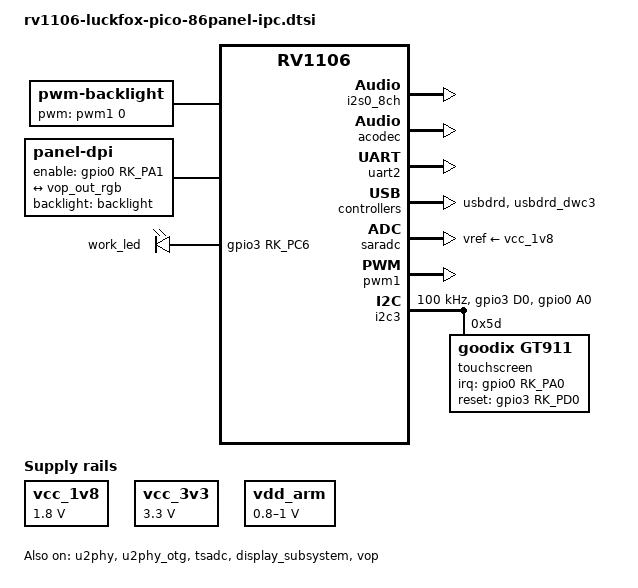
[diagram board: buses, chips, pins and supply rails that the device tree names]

// SPDX-License-Identifier: (GPL-2.0+ OR MIT)
/*
 * Copyright (c) 2022 Rockchip Electronics Co., Ltd.
 */

#include "rv1106-evb.dtsi"
#include <dt-bindings/input/input.h>
#include <dt-bindings/display/media-bus-format.h>

/ {
	chosen {
		bootargs = "earlycon=uart8250,mmio32,0xff4c0000 console=ttyS2,1500000n8 loglevel=8 ignore_loglevel root=/dev/mmcblk0p5 rootfstype=squashfs,f2fs rw rootwait rk_dma_heap_cma=66M";
	};

	backlight: backlight {
		status = "okay";
		compatible = "pwm-backlight";
		pwms = <&pwm1 0 100000 50000>;
		brightness-levels = <
			  0   1   2   3   4   5   6   7
			  8   9  10  11  12  13  14  15
			 16  17  18  19  20  21  22  23
			 24  25  26  27  28  29  30  31
			 32  33  34  35  36  37  38  39
			 40  41  42  43  44  45  46  47
			 48  49  50  51  52  53  54  55
			 56  57  58  59  60  61  62  63
			 64  65  66  67  68  69  70  71
			 72  73  74  75  76  77  78  79
			 80  81  82  83  84  85  86  87
			 88  89  90  91  92  93  94  95
			 96  97  98  99 100 101 102 103
			104 105 106 107 108 109 110 111
			112 113 114 115 116 117 118 119
			120 121 122 123 124 125 126 127
			128 129 130 131 132 133 134 135
			136 137 138 139 140 141 142 143
			144 145 146 147 148 149 150 151
			152 153 154 155 156 157 158 159
			160 161 162 163 164 165 166 167
			168 169 170 171 172 173 174 175
			176 177 178 179 180 181 182 183
			184 185 186 187 188 189 190 191
			192 193 194 195 196 197 198 199
			200 201 202 203 204 205 206 207
			208 209 210 211 212 213 214 215
			216 217 218 219 220 221 222 223
			224 225 226 227 228 229 230 231
			232 233 234 235 236 237 238 239
			240 241 242 243 244 245 246 247
			248 249 250 251 252 253 254 255>;
		default-brightness-level = <255>;
	};

	panel: panel {
		/*
		 * Mainline panel-simple matches "panel-dpi" for the generic
		 * raw-RGB-with-timing case; the vendor's "simple-panel"
		 * compatible isn't bound by any upstream driver. panel-dpi
		 * expects a flat "panel-timing" subnode (not the
		 * display-timings/native-mode wrapper).
		 */
		compatible = "panel-dpi";
		backlight = <&backlight>;

		/*
		 * Mainline panel-simple looks up "enable" (not "reset") and
		 * drives it high during resume/prepare to bring the panel
		 * out of reset. The vendor "reset-delay-ms" is not read by
		 * panel-dpi -- if a settling delay is needed we'd have to
		 * extend panel-dpi itself.
		 */
		enable-gpios = <&gpio0 RK_PA1 GPIO_ACTIVE_HIGH>;
		status = "okay";

		width-mm = <85>;
		height-mm = <85>;
		bus-format = <MEDIA_BUS_FMT_RGB666_1X18>;

		panel-timing {
			clock-frequency = <30000000>;
			hactive = <720>;
			vactive = <720>;
			hback-porch = <44>;
			hfront-porch = <46>;
			vback-porch = <18>;
			vfront-porch = <16>;
			hsync-len = <2>;
			vsync-len = <2>;
			hsync-active = <0>;
			vsync-active = <0>;
			de-active = <0>;
			pixelclk-active = <0>;
		};

		port {
			panel_in_rgb: endpoint {
				remote-endpoint = <&vop_out_rgb>;
			};
		};
	};

	reserved_memory: reserved-memory {
		status = "okay";
		#address-cells = <1>;
		#size-cells = <1>;
		ranges;
		drm_logo: drm-logo@00000000 {
			compatible = "rockchip,drm-logo";
			reg = <0x0 0x0>;
		};
		linux,cma {
			status = "okay";
			compatible = "shared-dma-pool";
			inactive;
			reusable;
			size = <0xA00000>; //10M
			linux,cma-default;
		};
		mmc_ecsd: mmc@3f000 {
			reg = <0x3f000 0x00001000>;
		};
	};

	acodec_sound: acodec-sound {
		compatible = "simple-audio-card";
		simple-audio-card,name = "rv1106-acodec";
		simple-audio-card,format = "i2s";
		simple-audio-card,mclk-fs = <256>;
		simple-audio-card,cpu {
			sound-dai = <&i2s0_8ch>;
		};
		simple-audio-card,codec {
			sound-dai = <&acodec>;
		};
	};

	dsm_sound: dsm-sound {
		status = "disabled";
		compatible = "simple-audio-card";
		simple-audio-card,format = "i2s";
		simple-audio-card,mclk-fs = <256>;
		simple-audio-card,name = "rockchip,dsm-sound";
		simple-audio-card,bitclock-master = <&sndcodec>;
		simple-audio-card,frame-master = <&sndcodec>;
		sndcpu: simple-audio-card,cpu {
			sound-dai = <&i2s0_8ch>;
		};
		sndcodec: simple-audio-card,codec {
			sound-dai = <&dsm>;
		};
	};

	vcc_1v8: vcc-1v8 {
		compatible = "regulator-fixed";
		regulator-name = "vcc_1v8";
		regulator-always-on;
		regulator-boot-on;
		regulator-min-microvolt = <1800000>;
		regulator-max-microvolt = <1800000>;
	};

	vcc_3v3: vcc-3v3 {
		compatible = "regulator-fixed";
		regulator-name = "vcc_3v3";
		regulator-always-on;
		regulator-boot-on;
		regulator-min-microvolt = <3300000>;
		regulator-max-microvolt = <3300000>;
	};

	vdd_arm: vdd-arm {
		compatible = "regulator-fixed";
		regulator-name = "vdd_arm";
		regulator-min-microvolt = <800000>;
		regulator-max-microvolt = <1000000>;
		regulator-init-microvolt = <900000>;
		regulator-always-on;
		regulator-boot-on;
	};

	leds: leds {
		compatible = "gpio-leds";
		work_led: work{
			gpios = <&gpio3 RK_PC6 GPIO_ACTIVE_HIGH>;
			linux,default-trigger = "activity";
			default-state = "on";
		};
	};
};

/***************************** audio ********************************/
&i2s0_8ch {
	#sound-dai-cells = <0>;
	status = "okay";
};

&acodec {
	#sound-dai-cells = <0>;
	status = "okay";
};

/************************* FIQ_DUBUGGER ****************************/
&fiq_debugger {
	rockchip,irq-mode-enable = <1>;
	status = "disabled";
};

/* uart2 (8250) is the console — fiq-debugger has no upstream driver. uart2
 * must be explicitly enabled so the 8250 driver claims its clock before
 * clk_disable_unused() runs. */
&uart2 {
	status = "okay";
};

/***************************** USB *********************************/
&u2phy {
	status = "okay";
};

&u2phy_otg {
	status = "okay";
};

&usbdrd {
	status = "okay";
};

&usbdrd_dwc3 {
	extcon = <&u2phy>;
	status = "okay";
};

/***************************** DSM *********************************/
&dsm {
	status = "disabled";
};

&cpu0 {
	cpu-supply = <&vdd_arm>;
};

/***************************** ADC ********************************/
&saradc {
	status = "okay";
	vref-supply = <&vcc_1v8>;
};

&tsadc {
	status = "okay";
};

/**************************** LCD/TP ******************************/
&pwm1 {
	status = "okay";
	/*
	 * The platform bus auto-applies only the pinctrl state named "default".
	 * The upstream pwm-rockchip driver in 6.6 doesn't explicitly select
	 * any other named state, so the vendor's "active" was silently inert
	 * here -- pwm1m2 stayed unmuxed and the PWM signal never reached the
	 * backlight pad. Rename to "default" so the framework applies it.
	 */
	pinctrl-names = "default";
	pinctrl-0 = <&pwm1m2_pins>;
};

&display_subsystem {
	status = "okay";
	logo-memory-region = <&drm_logo>;
};

/*
 * In 6.6 the rockchip_rgb driver is a library called from vop_bind when the
 * VOP advertises VOP_FEATURE_INTERNAL_RGB; the standalone rgb-node pattern
 * the vendor 5.10 SDK used was removed. drm_of_find_panel_or_bridge walks
 * exactly one remote-endpoint hop from the VOP, so the panel must be the
 * direct neighbor -- the rgb middleman has to be bypassed.
 *
 * Rewire panel_in_rgb to point at vop_out_rgb directly, override
 * vop_out_rgb's remote-endpoint to point at panel_in_rgb, and move the
 * lcd_pins pinmux from &rgb (which never probes any more) to &vop (which
 * does, and is the right owner of the parallel-RGB pads anyway).
 */
&panel_in_rgb {
	remote-endpoint = <&vop_out_rgb>;
};

&vop_out_rgb {
	remote-endpoint = <&panel_in_rgb>;
};

&rgb {
	status = "disabled";
};

&route_rgb {
	status = "disabled";
};

&vop {
	status = "okay";
	pinctrl-names = "default";
	pinctrl-0 = <&lcd_pins>;
};

/* GT911 capacitive touch. The mainline goodix driver owns both reset-gpios and
 * irq-gpios so it runs the controlled power-on reset that latches a deterministic
 * I2C address (0x5d for the driver's INT-low sequence). */
&i2c3 {
	status = "okay";
	#address-cells = <1>;
	#size-cells = <0>;
	pinctrl-names = "default";
	pinctrl-0 = <&i2c3m2_xfer &tp_rst &tp_irq>;
	clock-frequency = <100000>;

	touchscreen@5d {
		compatible = "goodix,gt911";
		reg = <0x5d>;
		interrupt-parent = <&gpio0>;
		interrupts = <RK_PA0 IRQ_TYPE_EDGE_FALLING>;
		irq-gpios = <&gpio0 RK_PA0 GPIO_ACTIVE_HIGH>;
		reset-gpios = <&gpio3 RK_PD0 GPIO_ACTIVE_HIGH>;
	};
};

/**************************** PINCTRL ******************************/
&pinctrl {
	touchscreen {
		tp_rst:tp-rst {
			rockchip,pins = <3 RK_PD0 RK_FUNC_GPIO &pcfg_pull_none>;
		};

		tp_irq:tp-irq {
			rockchip,pins = <0 RK_PA0 RK_FUNC_GPIO &pcfg_pull_up>;
		};
	};
};

